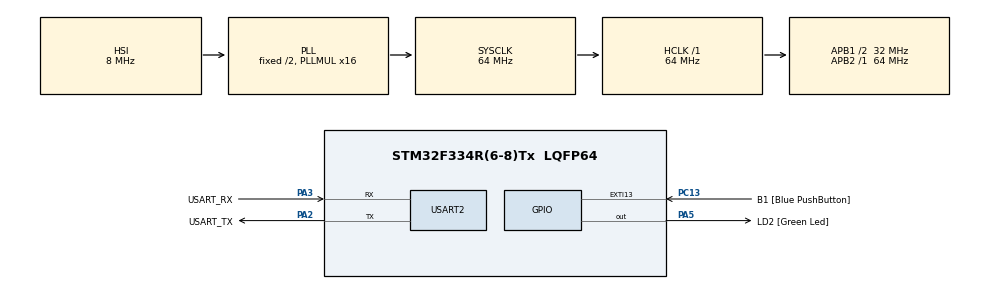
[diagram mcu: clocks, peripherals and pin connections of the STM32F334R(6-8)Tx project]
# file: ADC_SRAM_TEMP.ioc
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ADC1.Channel-0\#ChannelRegularConversion=ADC_CHANNEL_TEMPSENSOR
ADC1.Channel-1\#ChannelRegularConversion=ADC_CHANNEL_TEMPSENSOR
ADC1.Channel-10\#ChannelRegularConversion=ADC_CHANNEL_TEMPSENSOR
ADC1.Channel-11\#ChannelRegularConversion=ADC_CHANNEL_TEMPSENSOR
ADC1.Channel-12\#ChannelRegularConversion=ADC_CHANNEL_TEMPSENSOR
ADC1.Channel-13\#ChannelRegularConversion=ADC_CHANNEL_TEMPSENSOR
ADC1.Channel-14\#ChannelRegularConversion=ADC_CHANNEL_TEMPSENSOR
ADC1.Channel-15\#ChannelRegularConversion=ADC_CHANNEL_TEMPSENSOR
ADC1.Channel-2\#ChannelRegularConversion=ADC_CHANNEL_TEMPSENSOR
ADC1.Channel-3\#ChannelRegularConversion=ADC_CHANNEL_TEMPSENSOR
ADC1.Channel-4\#ChannelRegularConversion=ADC_CHANNEL_TEMPSENSOR
ADC1.Channel-5\#ChannelRegularConversion=ADC_CHANNEL_TEMPSENSOR
ADC1.Channel-6\#ChannelRegularConversion=ADC_CHANNEL_TEMPSENSOR
ADC1.Channel-7\#ChannelRegularConversion=ADC_CHANNEL_TEMPSENSOR
ADC1.Channel-8\#ChannelRegularConversion=ADC_CHANNEL_TEMPSENSOR
ADC1.Channel-9\#ChannelRegularConversion=ADC_CHANNEL_TEMPSENSOR
ADC1.ClockPrescaler=ADC_CLOCK_ASYNC_DIV1
ADC1.ContinuousConvMode=ENABLE
ADC1.DMAContinuousRequests=ENABLE
ADC1.DataAlign=ADC_DATAALIGN_RIGHT
ADC1.DiscontinuousConvMode=DISABLE
ADC1.EOCSelection=ADC_EOC_SINGLE_CONV
ADC1.EnableAnalogWatchDog1=false
ADC1.EnableAnalogWatchDog2=false
ADC1.EnableAnalogWatchDog3=false
ADC1.EnableInjectedConversion=ENABLE
ADC1.EnableRegularConversion=ENABLE
ADC1.ExternalTrigConv=ADC_SOFTWARE_START
ADC1.ExternalTrigConvEdge=ADC_EXTERNALTRIGCONVEDGE_NONE
ADC1.InjNumberOfConversion=0
ADC1.LowPowerAutoWait=DISABLE
ADC1.NbrOfConversion=16
ADC1.NbrOfConversionFlag=1
ADC1.Offset-0\#ChannelRegularConversion=0
ADC1.Offset-1\#ChannelRegularConversion=0
ADC1.Offset-10\#ChannelRegularConversion=0
ADC1.Offset-11\#ChannelRegularConversion=0
ADC1.Offset-12\#ChannelRegularConversion=0
ADC1.Offset-13\#ChannelRegularConversion=0
ADC1.Offset-14\#ChannelRegularConversion=0
ADC1.Offset-15\#ChannelRegularConversion=0
ADC1.Offset-2\#ChannelRegularConversion=0
ADC1.Offset-3\#ChannelRegularConversion=0
ADC1.Offset-4\#ChannelRegularConversion=0
ADC1.Offset-5\#ChannelRegularConversion=0
ADC1.Offset-6\#ChannelRegularConversion=0
ADC1.Offset-7\#ChannelRegularConversion=0
ADC1.Offset-8\#ChannelRegularConversion=0
ADC1.Offset-9\#ChannelRegularConversion=0
ADC1.OffsetNumber-0\#ChannelRegularConversion=ADC_OFFSET_NONE
ADC1.OffsetNumber-1\#ChannelRegularConversion=ADC_OFFSET_NONE
ADC1.OffsetNumber-10\#ChannelRegularConversion=ADC_OFFSET_NONE
ADC1.OffsetNumber-11\#ChannelRegularConversion=ADC_OFFSET_NONE
ADC1.OffsetNumber-12\#ChannelRegularConversion=ADC_OFFSET_NONE
ADC1.OffsetNumber-13\#ChannelRegularConversion=ADC_OFFSET_NONE
ADC1.OffsetNumber-14\#ChannelRegularConversion=ADC_OFFSET_NONE
ADC1.OffsetNumber-15\#ChannelRegularConversion=ADC_OFFSET_NONE
ADC1.OffsetNumber-2\#ChannelRegularConversion=ADC_OFFSET_NONE
ADC1.OffsetNumber-3\#ChannelRegularConversion=ADC_OFFSET_NONE
ADC1.OffsetNumber-4\#ChannelRegularConversion=ADC_OFFSET_NONE
ADC1.OffsetNumber-5\#ChannelRegularConversion=ADC_OFFSET_NONE
ADC1.OffsetNumber-6\#ChannelRegularConversion=ADC_OFFSET_NONE
ADC1.OffsetNumber-7\#ChannelRegularConversion=ADC_OFFSET_NONE
ADC1.OffsetNumber-8\#ChannelRegularConversion=ADC_OFFSET_NONE
ADC1.OffsetNumber-9\#ChannelRegularConversion=ADC_OFFSET_NONE
ADC1.Overrun=ADC_OVR_DATA_OVERWRITTEN
ADC1.Rank-0\#ChannelRegularConversion=1
ADC1.Rank-1\#ChannelRegularConversion=2
ADC1.Rank-10\#ChannelRegularConversion=11
ADC1.Rank-11\#ChannelRegularConversion=12
ADC1.Rank-12\#ChannelRegularConversion=13
ADC1.Rank-13\#ChannelRegularConversion=14
ADC1.Rank-14\#ChannelRegularConversion=15
ADC1.Rank-15\#ChannelRegularConversion=16
ADC1.Rank-2\#ChannelRegularConversion=3
ADC1.Rank-3\#ChannelRegularConversion=4
ADC1.Rank-4\#ChannelRegularConversion=5
ADC1.Rank-5\#ChannelRegularConversion=6
ADC1.Rank-6\#ChannelRegularConversion=7
ADC1.Rank-7\#ChannelRegularConversion=8
ADC1.Rank-8\#ChannelRegularConversion=9
ADC1.Rank-9\#ChannelRegularConversion=10
ADC1.Resolution=ADC_RESOLUTION_12B
ADC1.SamplingTime-0\#ChannelRegularConversion=ADC_SAMPLETIME_1CYCLE_5
ADC1.SamplingTime-1\#ChannelRegularConversion=ADC_SAMPLETIME_1CYCLE_5
ADC1.SamplingTime-10\#ChannelRegularConversion=ADC_SAMPLETIME_1CYCLE_5
ADC1.SamplingTime-11\#ChannelRegularConversion=ADC_SAMPLETIME_1CYCLE_5
ADC1.SamplingTime-12\#ChannelRegularConversion=ADC_SAMPLETIME_1CYCLE_5
ADC1.SamplingTime-13\#ChannelRegularConversion=ADC_SAMPLETIME_1CYCLE_5
ADC1.SamplingTime-14\#ChannelRegularConversion=ADC_SAMPLETIME_1CYCLE_5
ADC1.SamplingTime-15\#ChannelRegularConversion=ADC_SAMPLETIME_1CYCLE_5
ADC1.SamplingTime-2\#ChannelRegularConversion=ADC_SAMPLETIME_1CYCLE_5
ADC1.SamplingTime-3\#ChannelRegularConversion=ADC_SAMPLETIME_1CYCLE_5
ADC1.SamplingTime-4\#ChannelRegularConversion=ADC_SAMPLETIME_1CYCLE_5
ADC1.SamplingTime-5\#ChannelRegularConversion=ADC_SAMPLETIME_1CYCLE_5
ADC1.SamplingTime-6\#ChannelRegularConversion=ADC_SAMPLETIME_1CYCLE_5
ADC1.SamplingTime-7\#ChannelRegularConversion=ADC_SAMPLETIME_1CYCLE_5
ADC1.SamplingTime-8\#ChannelRegularConversion=ADC_SAMPLETIME_1CYCLE_5
ADC1.SamplingTime-9\#ChannelRegularConversion=ADC_SAMPLETIME_1CYCLE_5
ADC1.ScanConvMode=ADC_SCAN_ENABLE
ADC1.SubFamily=STM32F334x8
ADC1.master=1
Dma.ADC1.0.Direction=DMA_PERIPH_TO_MEMORY
Dma.ADC1.0.Instance=DMA1_Channel1
Dma.ADC1.0.MemDataAlignment=DMA_MDATAALIGN_HALFWORD
Dma.ADC1.0.MemInc=DMA_MINC_ENABLE
Dma.ADC1.0.Mode=DMA_NORMAL
Dma.ADC1.0.PeriphDataAlignment=DMA_PDATAALIGN_HALFWORD
Dma.ADC1.0.PeriphInc=DMA_PINC_DISABLE
Dma.ADC1.0.Priority=DMA_PRIORITY_LOW
Dma.Request0=ADC1
Mcu.Family=STM32F3
Mcu.Name=STM32F334R(6-8)Tx
Mcu.Package=LQFP64
NVIC.DMA1_Channel1_IRQn=true\:0\:0\:false\:false\:true\:false
NVIC.EXTI15_10_IRQn=true\:0\:0\:false\:false\:true\:true
NVIC.PriorityGroup=NVIC_PRIORITYGROUP_0
PA13.GPIO_Label=TMS
PA13.Mode=Serial_Wire
PA13.Signal=SYS_JTMS-SWDIO
PA14.GPIO_Label=TCK
PA14.Mode=Serial_Wire
PA14.Signal=SYS_JTCK-SWCLK
PA2.GPIO_Label=USART_TX
PA2.Mode=Asynchronous
PA2.Signal=USART2_TX
PA3.GPIO_Label=USART_RX
PA3.Mode=Asynchronous
PA3.Signal=USART2_RX
PA5.GPIO_Label=LD2 [Green Led]
PA5.Signal=GPIO_Output
PB3.GPIO_Label=SWO
PB3.Signal=SYS_JTDO-TRACESWO
PC13.GPIO_Label=B1 [Blue PushButton]
PC13.GPIO_ModeDefaultEXTI=GPIO_MODE_IT_FALLING
PC13.Signal=GPXTI13
PC14\ /\ OSC32_IN.Mode=LSE-External-Oscillator
PC14\ /\ OSC32_IN.Signal=RCC_OSC32_IN
PC15\ /\ OSC32_OUT.GPIO_Label=RCC_OSC32_OUT
PC15\ /\ OSC32_OUT.Mode=LSE-External-Oscillator
PC15\ /\ OSC32_OUT.Signal=RCC_OSC32_OUT
PF0\ /\ OSC_IN.Mode=HSE-External-Clock-Source
PF0\ /\ OSC_IN.Signal=RCC_OSC_IN
PF1\ /\ OSC_OUT.Signal=RCC_OSC_OUT
ProjectManager.HeapSize=0x200
ProjectManager.StackSize=0x400
ProjectManager.TargetToolchain=SW4STM32
RCC.AHBFreq_Value=64000000
RCC.APB1CLKDivider=RCC_HCLK_DIV2
RCC.APB1Freq_Value=32000000
RCC.APB1TimFreq_Value=64000000
RCC.APB2Freq_Value=64000000
RCC.APB2TimFreq_Value=64000000
RCC.CortexFreq_Value=64000000
RCC.FLatency-AdvancedSettings=FLASH_LATENCY_2
RCC.HCLKFreq_Value=64000000
RCC.HSE_VALUE=8000000
RCC.HSI_VALUE=8000000
RCC.PLLMUL=RCC_PLL_MUL16
RCC.SYSCLKFreq_VALUE=64000000
RCC.SYSCLKSourceVirtual=RCC_SYSCLKSOURCE_PLLCLK
USART2.VirtualMode-Asynchronous=VM_ASYNC
VP_ADC1_TempSens_Input.Mode=IN-TempSens
board=NUCLEO-F334R8

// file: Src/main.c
/**
  ******************************************************************************
  * @file           : main.c
  * @brief          : Main program body
  ******************************************************************************
  ** This notice applies to any and all portions of this file
  * that are not between comment pairs USER CODE BEGIN and
  * USER CODE END. Other portions of this file, whether
  * inserted by the user or by software development tools
  * are owned by their respective copyright owners.
  *
  * COPYRIGHT(c) 2020 STMicroelectronics
  *
  * Redistribution and use in source and binary forms, with or without modification,
  * are permitted provided that the following conditions are met:
  *   1. Redistributions of source code must retain the above copyright notice,
  *      this list of conditions and the following disclaimer.
  *   2. Redistributions in binary form must reproduce the above copyright notice,
  *      this list of conditions and the following disclaimer in the documentation
  *      and/or other materials provided with the distribution.
  *   3. Neither the name of STMicroelectronics nor the names of its contributors
  *      may be used to endorse or promote products derived from this software
  *      without specific prior written permission.
  *
  * THIS SOFTWARE IS PROVIDED BY THE COPYRIGHT HOLDERS AND CONTRIBUTORS "AS IS"
  * AND ANY EXPRESS OR IMPLIED WARRANTIES, INCLUDING, BUT NOT LIMITED TO, THE
  * IMPLIED WARRANTIES OF MERCHANTABILITY AND FITNESS FOR A PARTICULAR PURPOSE ARE
  * DISCLAIMED. IN NO EVENT SHALL THE COPYRIGHT HOLDER OR CONTRIBUTORS BE LIABLE
  * FOR ANY DIRECT, INDIRECT, INCIDENTAL, SPECIAL, EXEMPLARY, OR CONSEQUENTIAL
  * DAMAGES (INCLUDING, BUT NOT LIMITED TO, PROCUREMENT OF SUBSTITUTE GOODS OR
  * SERVICES; LOSS OF USE, DATA, OR PROFITS; OR BUSINESS INTERRUPTION) HOWEVER
  * CAUSED AND ON ANY THEORY OF LIABILITY, WHETHER IN CONTRACT, STRICT LIABILITY,
  * OR TORT (INCLUDING NEGLIGENCE OR OTHERWISE) ARISING IN ANY WAY OUT OF THE USE
  * OF THIS SOFTWARE, EVEN IF ADVISED OF THE POSSIBILITY OF SUCH DAMAGE.
  *
  ******************************************************************************
  */
#include "main.h"
#include "stm32f3xx_hal.h"
#include <stdio.h>
#include <string.h>

ADC_HandleTypeDef hadc1;
DMA_HandleTypeDef hdma_adc1;

UART_HandleTypeDef huart2;

uint16_t datos[16];
float temperatura;
int32_t temp2;

char cadena_temp[5]={' ',' ','.',' ',' '};
char* cadena[40];

/* USER CODE BEGIN PV */
/* Private variables ---------------------------------------------------------*/

/* USER CODE END PV */

void SystemClock_Config(void);
static void MX_GPIO_Init(void);
static void MX_DMA_Init(void);
static void MX_USART2_UART_Init(void);
static void MX_ADC1_Init(void);

/* USER CODE BEGIN PFP */
/* Private function prototypes -----------------------------------------------*/

/* USER CODE END PFP */

int main(void)
{

  /* MCU Configuration----------------------------------------------------------*/

  /* Reset of all peripherals, Initializes the Flash interface and the Systick. */
  HAL_Init();

  /* Configure the system clock */
  SystemClock_Config();

  /* Initialize all configured peripherals */
  MX_GPIO_Init();
  MX_DMA_Init();
  MX_USART2_UART_Init();
  MX_ADC1_Init();

  /* Infinite loop */
  while (1)
  {

  }

}

void SystemClock_Config(void)
{

  RCC_OscInitTypeDef RCC_OscInitStruct;
  RCC_ClkInitTypeDef RCC_ClkInitStruct;
  RCC_PeriphCLKInitTypeDef PeriphClkInit;

    /**Initializes the CPU, AHB and APB busses clocks
    */
  RCC_OscInitStruct.OscillatorType = RCC_OSCILLATORTYPE_HSI;
  RCC_OscInitStruct.HSIState = RCC_HSI_ON;
  RCC_OscInitStruct.HSICalibrationValue = 16;
  RCC_OscInitStruct.PLL.PLLState = RCC_PLL_ON;
  RCC_OscInitStruct.PLL.PLLSource = RCC_PLLSOURCE_HSI;
  RCC_OscInitStruct.PLL.PLLMUL = RCC_PLL_MUL16;
  if (HAL_RCC_OscConfig(&RCC_OscInitStruct) != HAL_OK)
  {
    _Error_Handler(__FILE__, __LINE__);
  }

    /**Initializes the CPU, AHB and APB busses clocks
    */
  RCC_ClkInitStruct.ClockType = RCC_CLOCKTYPE_HCLK|RCC_CLOCKTYPE_SYSCLK
                              |RCC_CLOCKTYPE_PCLK1|RCC_CLOCKTYPE_PCLK2;
  RCC_ClkInitStruct.SYSCLKSource = RCC_SYSCLKSOURCE_PLLCLK;
  RCC_ClkInitStruct.AHBCLKDivider = RCC_SYSCLK_DIV1;
  RCC_ClkInitStruct.APB1CLKDivider = RCC_HCLK_DIV2;
  RCC_ClkInitStruct.APB2CLKDivider = RCC_HCLK_DIV1;

  if (HAL_RCC_ClockConfig(&RCC_ClkInitStruct, FLASH_LATENCY_2) != HAL_OK)
  {
    _Error_Handler(__FILE__, __LINE__);
  }

  PeriphClkInit.PeriphClockSelection = RCC_PERIPHCLK_ADC12;
  PeriphClkInit.Adc12ClockSelection = RCC_ADC12PLLCLK_DIV1;
  if (HAL_RCCEx_PeriphCLKConfig(&PeriphClkInit) != HAL_OK)
  {
    _Error_Handler(__FILE__, __LINE__);
  }

    /**Configure the Systick interrupt time
    */
  HAL_SYSTICK_Config(HAL_RCC_GetHCLKFreq()/1000);

    /**Configure the Systick
    */
  HAL_SYSTICK_CLKSourceConfig(SYSTICK_CLKSOURCE_HCLK);

  /* SysTick_IRQn interrupt configuration */
  HAL_NVIC_SetPriority(SysTick_IRQn, 0, 0);
}

/* ADC1 init function */
static void MX_ADC1_Init(void)
{

  ADC_MultiModeTypeDef multimode;
  ADC_ChannelConfTypeDef sConfig;

    /**Common config
    */
  hadc1.Instance = ADC1;
  hadc1.Init.ClockPrescaler = ADC_CLOCK_ASYNC_DIV1;
  hadc1.Init.Resolution = ADC_RESOLUTION_12B;
  hadc1.Init.ScanConvMode = ADC_SCAN_DISABLE;
  hadc1.Init.ContinuousConvMode = ENABLE;
  hadc1.Init.DiscontinuousConvMode = DISABLE;
  hadc1.Init.ExternalTrigConvEdge = ADC_EXTERNALTRIGCONVEDGE_NONE;
  hadc1.Init.ExternalTrigConv = ADC_SOFTWARE_START;
  hadc1.Init.DataAlign = ADC_DATAALIGN_RIGHT;
  hadc1.Init.NbrOfConversion = 16;
  hadc1.Init.DMAContinuousRequests = ENABLE;
  hadc1.Init.EOCSelection = ADC_EOC_SINGLE_CONV;
  hadc1.Init.LowPowerAutoWait = DISABLE;
  hadc1.Init.Overrun = ADC_OVR_DATA_OVERWRITTEN;
  if (HAL_ADC_Init(&hadc1) != HAL_OK)
  {
    _Error_Handler(__FILE__, __LINE__);
  }

    /**Configure the ADC multi-mode
    */
  multimode.Mode = ADC_MODE_INDEPENDENT;
  if (HAL_ADCEx_MultiModeConfigChannel(&hadc1, &multimode) != HAL_OK)
  {
    _Error_Handler(__FILE__, __LINE__);
  }

    /**Configure Regular Channel
    */
  sConfig.Channel = ADC_CHANNEL_TEMPSENSOR;
  sConfig.Rank = ADC_REGULAR_RANK_1;
  sConfig.SingleDiff = ADC_SINGLE_ENDED;
  sConfig.SamplingTime = ADC_SAMPLETIME_1CYCLE_5;
  sConfig.OffsetNumber = ADC_OFFSET_NONE;
  sConfig.Offset = 0;
  if (HAL_ADC_ConfigChannel(&hadc1, &sConfig) != HAL_OK)
  {
    _Error_Handler(__FILE__, __LINE__);
  }

    /**Configure Regular Channel
    */
  sConfig.Rank = ADC_REGULAR_RANK_2;
  if (HAL_ADC_ConfigChannel(&hadc1, &sConfig) != HAL_OK)
  {
    _Error_Handler(__FILE__, __LINE__);
  }

    /**Configure Regular Channel
    */
  sConfig.Rank = ADC_REGULAR_RANK_3;
  if (HAL_ADC_ConfigChannel(&hadc1, &sConfig) != HAL_OK)
  {
    _Error_Handler(__FILE__, __LINE__);
  }

    /**Configure Regular Channel
    */
  sConfig.Rank = ADC_REGULAR_RANK_4;
  if (HAL_ADC_ConfigChannel(&hadc1, &sConfig) != HAL_OK)
  {
    _Error_Handler(__FILE__, __LINE__);
  }

    /**Configure Regular Channel
    */
  sConfig.Rank = ADC_REGULAR_RANK_5;
  if (HAL_ADC_ConfigChannel(&hadc1, &sConfig) != HAL_OK)
  {
    _Error_Handler(__FILE__, __LINE__);
  }

    /**Configure Regular Channel
    */
  sConfig.Rank = ADC_REGULAR_RANK_6;
  if (HAL_ADC_ConfigChannel(&hadc1, &sConfig) != HAL_OK)
  {
    _Error_Handler(__FILE__, __LINE__);
  }

    /**Configure Regular Channel
    */
  sConfig.Rank = ADC_REGULAR_RANK_7;
  if (HAL_ADC_ConfigChannel(&hadc1, &sConfig) != HAL_OK)
  {
    _Error_Handler(__FILE__, __LINE__);
  }

    /**Configure Regular Channel
    */
  sConfig.Rank = ADC_REGULAR_RANK_8;
  if (HAL_ADC_ConfigChannel(&hadc1, &sConfig) != HAL_OK)
  {
    _Error_Handler(__FILE__, __LINE__);
  }

    /**Configure Regular Channel
    */
  sConfig.Rank = ADC_REGULAR_RANK_9;
  if (HAL_ADC_ConfigChannel(&hadc1, &sConfig) != HAL_OK)
  {
    _Error_Handler(__FILE__, __LINE__);
  }

    /**Configure Regular Channel
    */
  sConfig.Rank = ADC_REGULAR_RANK_10;
  if (HAL_ADC_ConfigChannel(&hadc1, &sConfig) != HAL_OK)
  {
    _Error_Handler(__FILE__, __LINE__);
  }

    /**Configure Regular Channel
    */
  sConfig.Rank = ADC_REGULAR_RANK_11;
  if (HAL_ADC_ConfigChannel(&hadc1, &sConfig) != HAL_OK)
  {
    _Error_Handler(__FILE__, __LINE__);
  }

    /**Configure Regular Channel
    */
  sConfig.Rank = ADC_REGULAR_RANK_12;
  if (HAL_ADC_ConfigChannel(&hadc1, &sConfig) != HAL_OK)
  {
    _Error_Handler(__FILE__, __LINE__);
  }

    /**Configure Regular Channel
    */
  sConfig.Rank = ADC_REGULAR_RANK_13;
  if (HAL_ADC_ConfigChannel(&hadc1, &sConfig) != HAL_OK)
  {
    _Error_Handler(__FILE__, __LINE__);
  }

    /**Configure Regular Channel
    */
  sConfig.Rank = ADC_REGULAR_RANK_14;
  if (HAL_ADC_ConfigChannel(&hadc1, &sConfig) != HAL_OK)
  {
    _Error_Handler(__FILE__, __LINE__);
  }

    /**Configure Regular Channel
    */
  sConfig.Rank = ADC_REGULAR_RANK_15;
  if (HAL_ADC_ConfigChannel(&hadc1, &sConfig) != HAL_OK)
  {
    _Error_Handler(__FILE__, __LINE__);
  }

    /**Configure Regular Channel
    */
  sConfig.Rank = ADC_REGULAR_RANK_16;
  if (HAL_ADC_ConfigChannel(&hadc1, &sConfig) != HAL_OK)
  {
    _Error_Handler(__FILE__, __LINE__);
  }

}

/* USART2 init function */
static void MX_USART2_UART_Init(void)
{

  huart2.Instance = USART2;
  huart2.Init.BaudRate = 38400;
  huart2.Init.StopBits = UART_STOPBITS_1;
  huart2.Init.Parity = UART_PARITY_NONE;
  huart2.Init.Mode = UART_MODE_TX_RX;
  huart2.Init.HwFlowCtl = UART_HWCONTROL_NONE;
  huart2.Init.OverSampling = UART_OVERSAMPLING_16;
  huart2.Init.OneBitSampling = UART_ONE_BIT_SAMPLE_DISABLE;
  huart2.AdvancedInit.AdvFeatureInit = UART_ADVFEATURE_NO_INIT;
  if (HAL_UART_Init(&huart2) != HAL_OK)
  {
    _Error_Handler(__FILE__, __LINE__);
  }

}

static void MX_DMA_Init(void)
{
  /* DMA controller clock enable */
  __HAL_RCC_DMA1_CLK_ENABLE();

  /* DMA interrupt init */
  /* DMA1_Channel1_IRQn interrupt configuration */
  HAL_NVIC_SetPriority(DMA1_Channel1_IRQn, 0, 0);
  HAL_NVIC_EnableIRQ(DMA1_Channel1_IRQn);

}

/** Configure pins as
        * Analog
        * Input
        * Output
        * EVENT_OUT
        * EXTI
*/
static void MX_GPIO_Init(void)
{

  GPIO_InitTypeDef GPIO_InitStruct;

  /* GPIO Ports Clock Enable */
  __HAL_RCC_GPIOC_CLK_ENABLE();
  __HAL_RCC_GPIOF_CLK_ENABLE();
  __HAL_RCC_GPIOA_CLK_ENABLE();
  __HAL_RCC_GPIOB_CLK_ENABLE();

  /*Configure GPIO pin Output Level */
  HAL_GPIO_WritePin(LD2_GPIO_Port, LD2_Pin, GPIO_PIN_RESET);

  /*Configure GPIO pin : B1_Pin */
  GPIO_InitStruct.Pin = B1_Pin;
  GPIO_InitStruct.Mode = GPIO_MODE_IT_FALLING;
  GPIO_InitStruct.Pull = GPIO_NOPULL;
  HAL_GPIO_Init(B1_GPIO_Port, &GPIO_InitStruct);

  /*Configure GPIO pin : LD2_Pin */
  GPIO_InitStruct.Pin = LD2_Pin;
  GPIO_InitStruct.Mode = GPIO_MODE_OUTPUT_PP;
  GPIO_InitStruct.Pull = GPIO_NOPULL;
  GPIO_InitStruct.Speed = GPIO_SPEED_FREQ_LOW;
  HAL_GPIO_Init(LD2_GPIO_Port, &GPIO_InitStruct);

  /* EXTI interrupt init*/
  HAL_NVIC_SetPriority(EXTI15_10_IRQn, 0, 0);
  HAL_NVIC_EnableIRQ(EXTI15_10_IRQn);

}

/* USER CODE BEGIN 4 */

void HAL_ADC_ConvCpltCallback(ADC_HandleTypeDef* hadc)
{
  /* Prevent unused argument(s) compilation warning */
  UNUSED(hadc);
  temperatura=0;
  for(int i=0;i<16;i++)
  {
	  temperatura+=datos[i];
  }
  temperatura/=16;
  temperatura*=(3.3/4095);
  temperatura=1.43-temperatura;
  temperatura/=4.3;
  temperatura+=25;

  temp2=temperatura*100;
  cadena_temp[0]=(char)((temp2%10000)/1000+48);
  cadena_temp[1]=(char)((temp2%1000)/100+48);
  cadena_temp[3]=(char)((temp2%100)/10+48);
  cadena_temp[4]=(char)((temp2%10)/1+48);

  sprintf(cadena,"%s\r\n",cadena_temp);
  HAL_UART_Transmit(&huart2,(uint8_t*)cadena,strlen(cadena),HAL_MAX_DELAY);
  //CLEAR_BIT(hadc->Instance->CR, ADC_CR_ADSTART);
  //__ADSTP;
  HAL_ADC_Stop_DMA(&hadc1);
}

/* USER CODE END 4 */

void _Error_Handler(char *file, int line)
{
  while(1)
  {
  }
}

/************************ (C) COPYRIGHT STMicroelectronics *****END OF FILE****/
